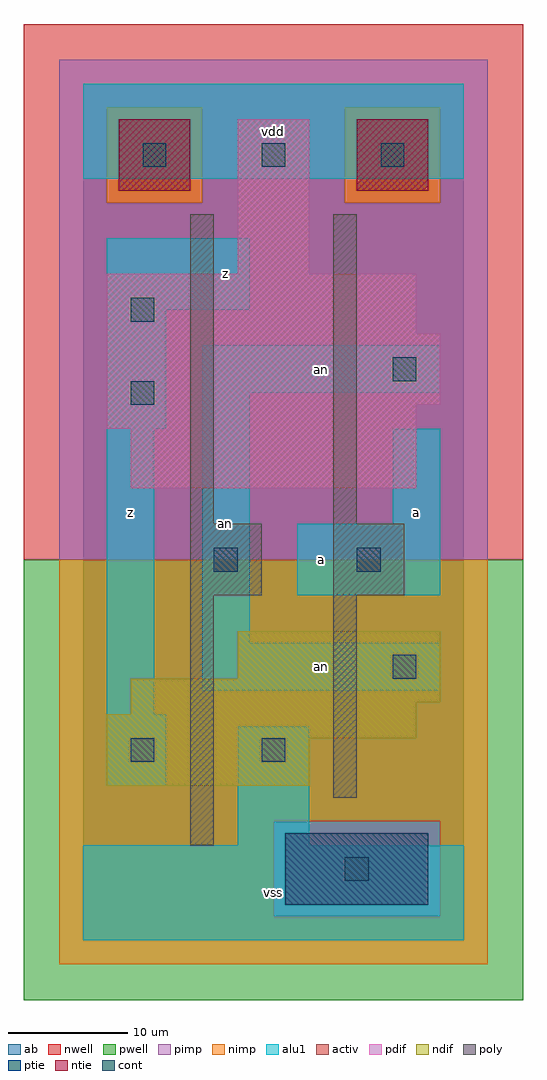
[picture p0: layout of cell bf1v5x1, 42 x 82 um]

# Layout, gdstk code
import gdstk
lib = gdstk.Library(unit=1e-6, precision=1e-09)
def R(c, l, rs):  # rectangles x0, y0, x1, y1
    for r in rs: c.add(gdstk.rectangle(r[:2], r[2:], *l))
def A(c, l, x, y, w, h, nx, ny, dx, dy):  # array of equal rectangles
    R(c, l, [(x+i*dx, y+j*dy, x+i*dx+w, y+j*dy+h) for i in range(nx) for j in range(ny)])
ndif = (3, 0)
pdif = (4, 0)
ntie = (5, 0)
ptie = (6, 0)
cont = (25, 0)
pwell = (41, 0)
nwell = (42, 0)
activ = (43, 0)
pimp = (44, 0)
nimp = (45, 0)
poly = (46, 0)
alu1 = (49, 0)
ab = (63, 0)

bf1v5x1 = lib.new_cell('bf1v5x1')
R(bf1v5x1, ndif, [(2,13,19,17), (2,17,28,19), (4,19,28,20), (4,20,30,22), (13,22,30,26)])
R(bf1v5x1, pdif, [(4,38,28,43), (2,43,28,45), (2,45,30,51), (2,51,28,56), (13,56,19,69)])
R(bf1v5x1, ntie, [(3,63,9,69), (23,63,29,69)])
R(bf1v5x1, ptie, [(17,3,29,9)])
A(bf1v5x1, cont, 5, 65, 2, 2, 3, 1, 10, 0)
R(bf1v5x1, cont, [(22,5,24,7), (4,15,6,17), (15,15,17,17), (26,22,28,24), (11,31,13,33), (23,31,25,33), (4,45,6,47), (26,47,28,49), (4,52,6,54)])
R(bf1v5x1, pwell, [(-5,-5,37,32)])
R(bf1v5x1, nwell, [(-5,32,37,77)])
R(bf1v5x1, activ, [(17,3,29,9), (2,13,19,17), (2,17,28,19), (4,19,28,20), (4,20,30,22), (13,22,30,26), (4,38,28,43), (2,43,28,45), (2,45,30,51), (2,51,28,56), (13,56,19,69), (3,63,9,69), (23,63,29,69)])
R(bf1v5x1, pimp, [(16,2,30,10), (-2,32,34,62), (-2,62,2,70), (10,62,22,70), (30,62,34,70), (-2,70,34,74)])
R(bf1v5x1, nimp, [(-2,-2,34,2), (-2,2,16,10), (30,2,34,10), (-2,10,34,32), (2,62,10,70), (22,62,30,70)])
R(bf1v5x1, poly, [(9,8,11,29), (21,12,23,29), (9,29,15,35), (21,29,27,35), (9,35,11,61), (21,35,23,61)])
R(bf1v5x1, alu1, [(0,0,32,8), (13,8,19,18), (2,13,7,19), (2,19,6,43), (10,21,30,25), (10,25,14,46), (18,29,30,35), (26,35,30,43), (2,43,7,53), (10,46,30,50), (2,53,14,59), (0,64,32,72)])
R(bf1v5x1, ab, [(0,0,32,72)])
bf1v5x1.add(gdstk.Label('an', (12,35), layer=49, texttype=0))
bf1v5x1.add(gdstk.Label('an', (20,23), layer=49, texttype=0))
bf1v5x1.add(gdstk.Label('an', (20,48), layer=49, texttype=0))
bf1v5x1.add(gdstk.Label('z', (4,36), layer=49, texttype=0))
bf1v5x1.add(gdstk.Label('vss', (16,4), layer=49, texttype=0))
bf1v5x1.add(gdstk.Label('z', (12,56), layer=49, texttype=0))
bf1v5x1.add(gdstk.Label('vdd', (16,68), layer=49, texttype=0))
bf1v5x1.add(gdstk.Label('a', (20,32), layer=49, texttype=0))
bf1v5x1.add(gdstk.Label('a', (28,36), layer=49, texttype=0))

lib.write_gds('bf1v5x1.gds')
